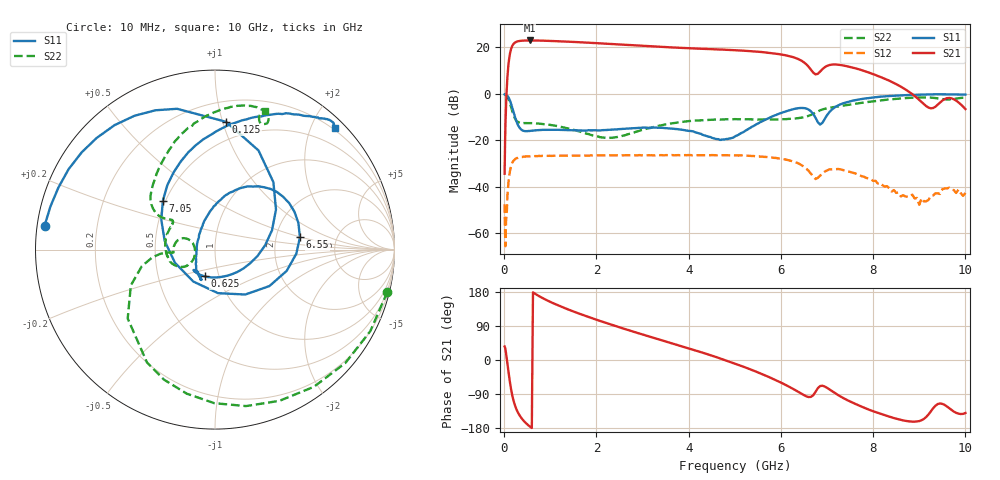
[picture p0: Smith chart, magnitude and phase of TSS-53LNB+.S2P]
!Mini-Circuits Laboratory
!S-Parameters
!Model: TSS-53LNB+
!Run / Lot / Date Code: NA / NA / NA
!Fixture: NA; UNIT ON TB
!AUTO PORT EXTENSION DONE: PORT<1>=91.91ps; PORT<2>=84.91ps
!Network Analyzer: PNA-X N5242A - 423 4 ports;  Serial number: 71256
!Date: 4/4/2014 at 12:21:25 PM
!S/N: Unit# 1
# Hz  S  dB  R  50
!Frequency  S11 dB  S11 Deg  S21 dB  S21 Deg  S12 dB  S12 Deg  S22 dB  S22 Deg
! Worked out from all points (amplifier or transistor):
!   326 points, 10 MHz to 10 GHz, reference 50 ohm
!   highest |S21| = 22.9 dB at 550 MHz (marker M1)
!   |S21| within 3 dB of that: 162.5 MHz to 3.639 GHz (3.477 GHz wide, 183 % of centre)
!   unconditionally stable (mu >= 1): start of sweep to end of sweep
!   at 1.225 GHz: K = 1.08, MAG = 22.8 dB, |S12| = -26.7 dB
!   at 3.95 GHz: K = 1.24, MAG = 20.1 dB, |S12| = -26.5 dB
!   at 10 GHz: K = 4.27, MAG = 8.8 dB, |S12| = -42.7 dB
!   S11 on the Smith chart (normalised r, x): 10 MHz: 0.02, +0.07; 125 MHz: 0.35, +1.03; 625 MHz: 0.85, -0.26; 6.55 GHz: 2.73, +0.48; 7.05 GHz: 0.48, +0.31; 10 GHz: 0.17, +2.38
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1e7  -0.37 172.0  -34.48 35.6  -47.65 154.0  -0.10 -13.8
7e7  -1.00 128.9  6.85 -8.4  -44.10 -166.1  -1.35 -90.3
1.25e8  -2.92 85.1  17.09 -58.3  -33.47 136.6  -4.16 -141.7
1.5e8  -4.39 66.3  19.21 -77.1  -31.18 116.8  -5.86 -157.0
2e8  -7.82 33.3  21.29 -105.7  -28.94 88.9  -9.09 -173.0
3e8  -13.54 -21.1  22.50 -138.7  -27.68 56.8  -12.21 -176.1
4e8  -15.88 -64.6  22.77 -157.2  -27.27 40.9  -12.73 -176.3
5.5e8  -16.12 -101.2  22.85 -174.8  -27.06 26.4  -12.72 179.3
6.25e8  -15.93 -111.4  22.85 178.5  -26.92 22.3  -12.75 176.5
1.075e9  -15.57 -134.1  22.60 149.2  -26.79 5.7  -13.73 163.7
1.675e9  -15.90 -134.0  22.04 120.2  -26.64 -6.6  -16.53 159.6
2.4e9  -15.45 -120.9  21.24 90.1  -26.56 -18.4  -18.82 -168.6
3.35e9  -14.68 -115.8  20.15 54.5  -26.50 -33.0  -13.85 -151.9
4.25e9  -17.27 -140.6  19.30 21.3  -26.51 -48.6  -11.49 -170.8
5.025e9  -18.21 135.2  18.63 -10.5  -26.64 -65.7  -11.02 166.6
5.925e9  -8.94 69.7  17.09 -55.2  -27.84 -93.6  -11.15 147.8
6.55e9  -6.41 8.2  12.62 -95.8  -32.30 -121.3  -9.94 147.6
6.7e9  -8.76 -33.8  9.04 -93.1  -35.74 -115.5  -8.72 148.9
7.05e9  -8.02 137.1  12.26 -77.4  -32.63 -92.8  -6.13 135.1
7.65e9  -2.68 78.3  10.69 -117.8  -34.66 -115.9  -4.30 115.0
8.35e9  -1.06 58.2  5.54 -149.4  -40.72 -122.4  -2.53 93.7
1e10  -0.44 45.4  -6.66 -139.9  -42.73 -46.6  -1.73 70.1
